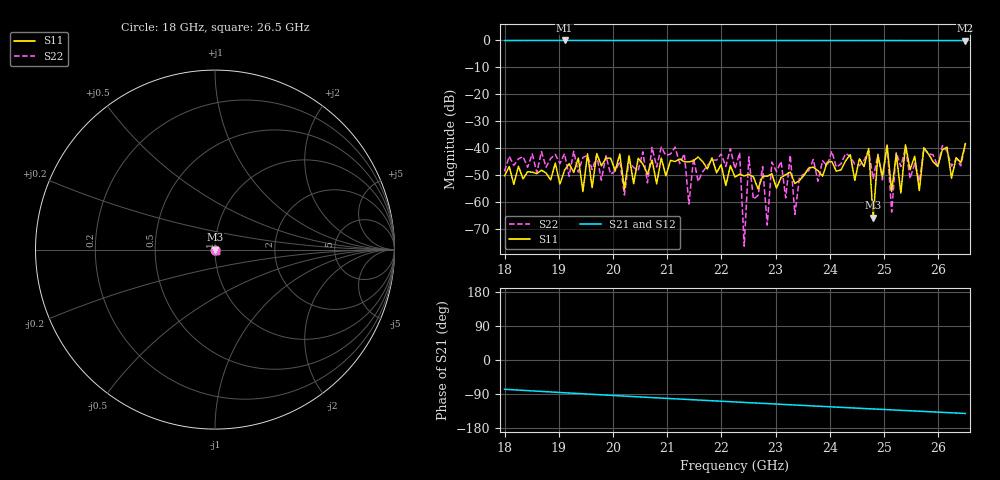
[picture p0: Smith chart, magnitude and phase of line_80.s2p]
# GHZ S RI R 50.0
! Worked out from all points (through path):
!   101 points, 18 GHz to 26.5 GHz, reference 50 ohm
!   highest |S21| = -0.03 dB at 19.11 GHz (marker M1); lowest = -0.1 dB at 26.5 GHz (marker M2)
!   lowest |S11| = -65.7 dB at 24.8 GHz (marker M3), VSWR 1.00, Z = 50 + j0.034 ohm
!   |S11| at or under -10 dB: start of sweep to end of sweep
!   |S22| runs from -76.3 to -38.2 dB; largest |S21 - S12| = 0.0023
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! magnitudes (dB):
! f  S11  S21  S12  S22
! 18 GHz  -50.2  0.0  0.0  -48.5
! 19.11 GHz  -48.1  0.0  0.0  -42.0
! 19.45 GHz  -56.0  0.0  0.0  -43.3
! 20.21 GHz  -55.2  0.0  0.0  -57.3
! 20.89 GHz  -43.6  0.0  0.0  -39.6
! 21.4 GHz  -45.0  0.0  0.0  -60.7
! 21.48 GHz  -44.6  0.0  0.0  -43.6
! 22.25 GHz  -50.6  0.0  0.0  -47.6
! 22.34 GHz  -49.6  0.0  0.0  -41.6
! 22.42 GHz  -50.3  0.0  0.0  -76.3
! 22.5 GHz  -49.6  0.0  0.0  -43.2
! 22.84 GHz  -50.3  0.0  0.0  -68.5
! 22.93 GHz  -49.4  0.0  0.0  -45.1
! 23.27 GHz  -48.8  0.0  0.0  -42.5
! 23.36 GHz  -53.0  0.0  0.0  -64.5
! 23.7 GHz  -47.0  0.0  0.0  -44.1
! 24.71 GHz  -40.1  -0.1  -0.1  -40.9
! 24.8 GHz  -65.7  -0.1  -0.1  -51.4
! 25.05 GHz  -38.9  -0.1  -0.1  -38.2
! 25.14 GHz  -56.0  -0.1  -0.1  -63.6
! 25.23 GHz  -42.2  -0.1  -0.1  -41.6
! 26.5 GHz  -38.2  -0.1  -0.1  -38.3
